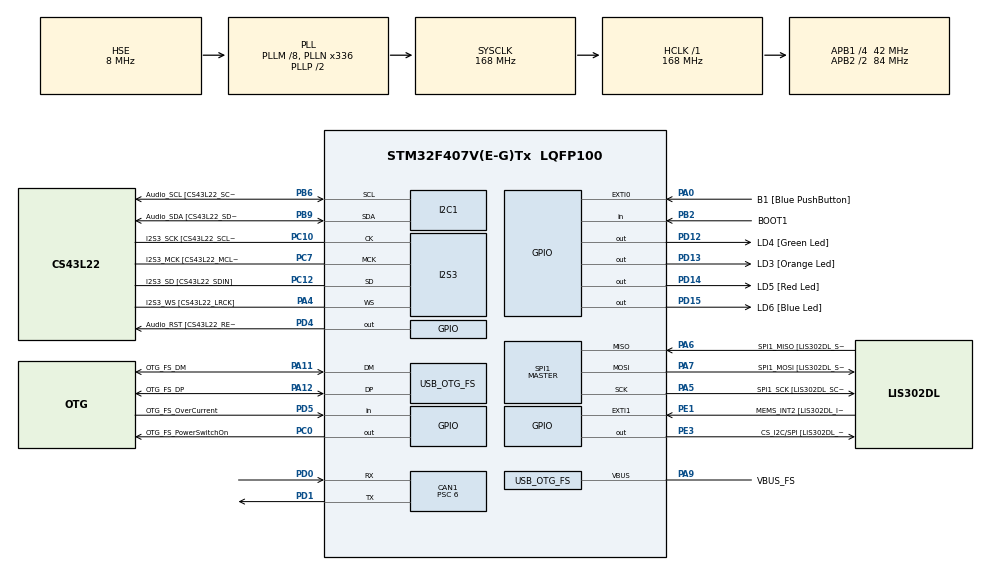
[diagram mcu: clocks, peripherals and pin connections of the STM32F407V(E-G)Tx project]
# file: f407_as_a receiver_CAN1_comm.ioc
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CAN1.ABOM=ENABLE
CAN1.BS1=CAN_BS1_11TQ
CAN1.BS2=CAN_BS2_2TQ
CAN1.CalculateBaudRate=500000
CAN1.CalculateTimeBit=2000
CAN1.CalculateTimeQuantum=142.85714285714286
CAN1.NART=ENABLE
CAN1.Prescaler=6
I2S3.AudioFreq-Half_Duplex_Master=I2S_AUDIOFREQ_96K
I2S3.ErrorAudioFreq=-2.34 %
I2S3.ErrorAudioFreq-Half_Duplex_Master=0.8 %
I2S3.FullDuplexMode=I2S_FULLDUPLEXMODE_DISABLE
I2S3.Instance=SPI$Index
I2S3.RealAudioFreq=93.75 KHz
I2S3.RealAudioFreq-Half_Duplex_Master=96.774 KHz
I2S3.VirtualMode=I2S_MODE_MASTER
Mcu.Family=STM32F4
Mcu.Name=STM32F407V(E-G)Tx
Mcu.Package=LQFP100
NVIC.CAN1_RX0_IRQn=true\:0\:0\:false\:false\:true\:true\:true\:true
NVIC.OTG_FS_IRQn=true\:0\:0\:false\:false\:true\:true\:true\:true
NVIC.PriorityGroup=NVIC_PRIORITYGROUP_0
PA0-WKUP.GPIO_Label=B1 [Blue PushButton]
PA0-WKUP.GPIO_ModeDefaultEXTI=GPIO_MODE_EVT_RISING
PA0-WKUP.GPIO_PuPd=GPIO_NOPULL
PA0-WKUP.Signal=GPXTI0
PA10.GPIO_Label=OTG_FS_ID
PA10.GPIO_Mode=GPIO_MODE_AF_PP
PA10.GPIO_PuPd=GPIO_NOPULL
PA10.GPIO_Speed=GPIO_SPEED_FREQ_LOW
PA10.Signal=USB_OTG_FS_ID
PA11.GPIO_Label=OTG_FS_DM
PA11.GPIO_Mode=GPIO_MODE_AF_PP
PA11.GPIO_PuPd=GPIO_NOPULL
PA11.GPIO_Speed=GPIO_SPEED_FREQ_LOW
PA11.Mode=Host_Only
PA11.Signal=USB_OTG_FS_DM
PA12.GPIO_Label=OTG_FS_DP
PA12.GPIO_Mode=GPIO_MODE_AF_PP
PA12.GPIO_PuPd=GPIO_NOPULL
PA12.GPIO_Speed=GPIO_SPEED_FREQ_LOW
PA12.Mode=Host_Only
PA12.Signal=USB_OTG_FS_DP
PA13.GPIO_Label=SWDIO
PA13.Mode=Serial_Wire
PA13.Signal=SYS_JTMS-SWDIO
PA14.GPIO_Label=SWCLK
PA14.Mode=Serial_Wire
PA14.Signal=SYS_JTCK-SWCLK
PA4.GPIO_Label=I2S3_WS [CS43L22_LRCK]
PA4.GPIO_Mode=GPIO_MODE_AF_PP
PA4.GPIO_PuPd=GPIO_NOPULL
PA4.GPIO_Speed=GPIO_SPEED_FREQ_LOW
PA4.Mode=Half_Duplex_Master
PA4.Signal=I2S3_WS
PA5.GPIO_Label=SPI1_SCK [LIS302DL_SCL/SPC]
PA5.GPIO_Mode=GPIO_MODE_AF_PP
PA5.GPIO_PuPd=GPIO_NOPULL
PA5.GPIO_Speed=GPIO_SPEED_FREQ_LOW
PA5.Mode=Full_Duplex_Master
PA5.Signal=SPI1_SCK
PA6.GPIO_Label=SPI1_MISO [LIS302DL_SDO]
PA6.GPIO_Mode=GPIO_MODE_AF_PP
PA6.GPIO_PuPd=GPIO_NOPULL
PA6.GPIO_Speed=GPIO_SPEED_FREQ_LOW
PA6.Mode=Full_Duplex_Master
PA6.Signal=SPI1_MISO
PA7.GPIO_Label=SPI1_MOSI [LIS302DL_SDA/SDI/SDO]
PA7.GPIO_Mode=GPIO_MODE_AF_PP
PA7.GPIO_PuPd=GPIO_NOPULL
PA7.GPIO_Speed=GPIO_SPEED_FREQ_LOW
PA7.Mode=Full_Duplex_Master
PA7.Signal=SPI1_MOSI
PA9.GPIO_Label=VBUS_FS
PA9.GPIO_Mode=GPIO_MODE_INPUT
PA9.GPIO_PuPd=GPIO_NOPULL
PA9.Mode=Activate_VBUS
PA9.Signal=USB_OTG_FS_VBUS
PB10.GPIO_Label=CLK_IN [MP45DT02_CLK]
PB10.GPIO_Mode=GPIO_MODE_AF_PP
PB10.GPIO_PuPd=GPIO_NOPULL
PB10.GPIO_Speed=GPIO_SPEED_FREQ_LOW
PB10.Signal=I2S2_CK
PB2.GPIO_Label=BOOT1
PB2.GPIO_Mode=GPIO_MODE_INPUT
PB2.GPIO_PuPd=GPIO_NOPULL
PB2.Signal=GPIO_Input
PB3.GPIO_Label=SWO
PB3.Signal=SYS_JTDO-SWO
PB6.GPIO_Label=Audio_SCL [CS43L22_SCL]
PB6.GPIO_Mode=GPIO_MODE_AF_OD
PB6.GPIO_Pu=GPIO_PULLUP
PB6.GPIO_PuPd=GPIO_NOPULL
PB6.GPIO_Speed=GPIO_SPEED_FREQ_LOW
PB6.Mode=I2C
PB6.Signal=I2C1_SCL
PB9.GPIO_Label=Audio_SDA [CS43L22_SDA]
PB9.GPIO_Mode=GPIO_MODE_AF_OD
PB9.GPIO_Pu=GPIO_PULLUP
PB9.GPIO_PuPd=GPIO_NOPULL
PB9.GPIO_Speed=GPIO_SPEED_FREQ_LOW
PB9.Mode=I2C
PB9.Signal=I2C1_SDA
PC0.GPIO_Label=OTG_FS_PowerSwitchOn
PC0.GPIO_PuPd=GPIO_NOPULL
PC0.GPIO_Speed=GPIO_SPEED_FREQ_LOW
PC0.PinState=GPIO_PIN_SET
PC0.Signal=GPIO_Output
PC10.GPIO_Label=I2S3_SCK [CS43L22_SCLK]
PC10.GPIO_Mode=GPIO_MODE_AF_PP
PC10.GPIO_PuPd=GPIO_NOPULL
PC10.GPIO_Speed=GPIO_SPEED_FREQ_LOW
PC10.Mode=Half_Duplex_Master
PC10.Signal=I2S3_CK
PC12.GPIO_Label=I2S3_SD [CS43L22_SDIN]
PC12.GPIO_Mode=GPIO_MODE_AF_PP
PC12.GPIO_PuPd=GPIO_NOPULL
PC12.GPIO_Speed=GPIO_SPEED_FREQ_LOW
PC12.Mode=Half_Duplex_Master
PC12.Signal=I2S3_SD
PC14-OSC32_IN.GPIO_Label=PC14-OSC32_IN
PC14-OSC32_IN.Mode=LSE-External-Oscillator
PC14-OSC32_IN.Signal=RCC_OSC32_IN
PC15-OSC32_OUT.GPIO_Label=PC15-OSC32_OUT
PC15-OSC32_OUT.Mode=LSE-External-Oscillator
PC15-OSC32_OUT.Signal=RCC_OSC32_OUT
PC3.GPIO_Label=PDM_OUT [MP45DT02_DOUT]
PC3.GPIO_Mode=GPIO_MODE_AF_PP
PC3.GPIO_PuPd=GPIO_NOPULL
PC3.GPIO_Speed=GPIO_SPEED_FREQ_LOW
PC3.Signal=I2S2_SD
PC7.GPIO_Label=I2S3_MCK [CS43L22_MCLK]
PC7.GPIO_Mode=GPIO_MODE_AF_PP
PC7.GPIO_PuPd=GPIO_NOPULL
PC7.GPIO_Speed=GPIO_SPEED_FREQ_LOW
PC7.Mode=Master_Clock_Activated
PC7.Signal=I2S3_MCK
PD0.Mode=CAN_Activate
PD0.Signal=CAN1_RX
PD1.Mode=CAN_Activate
PD1.Signal=CAN1_TX
PD12.GPIO_Label=LD4 [Green Led]
PD12.GPIO_PuPd=GPIO_NOPULL
PD12.GPIO_Speed=GPIO_SPEED_FREQ_LOW
PD12.Signal=GPIO_Output
PD13.GPIO_Label=LD3 [Orange Led]
PD13.GPIO_PuPd=GPIO_NOPULL
PD13.GPIO_Speed=GPIO_SPEED_FREQ_LOW
PD13.Signal=GPIO_Output
PD14.GPIO_Label=LD5 [Red Led]
PD14.GPIO_PuPd=GPIO_NOPULL
PD14.GPIO_Speed=GPIO_SPEED_FREQ_LOW
PD14.Signal=GPIO_Output
PD15.GPIO_Label=LD6 [Blue Led]
PD15.GPIO_PuPd=GPIO_NOPULL
PD15.GPIO_Speed=GPIO_SPEED_FREQ_LOW
PD15.Signal=GPIO_Output
PD4.GPIO_Label=Audio_RST [CS43L22_RESET]
PD4.GPIO_PuPd=GPIO_NOPULL
PD4.GPIO_Speed=GPIO_SPEED_FREQ_LOW
PD4.Signal=GPIO_Output
PD5.GPIO_Label=OTG_FS_OverCurrent
PD5.GPIO_Mode=GPIO_MODE_INPUT
PD5.GPIO_PuPd=GPIO_NOPULL
PD5.Signal=GPIO_Input
PE1.GPIO_Label=MEMS_INT2 [LIS302DL_INT2]
PE1.GPIO_ModeDefaultEXTI=GPIO_MODE_EVT_RISING
PE1.GPIO_PuPd=GPIO_NOPULL
PE1.Signal=GPXTI1
PE3.GPIO_Label=CS_I2C/SPI [LIS302DL_CS_I2C/SPI]
PE3.GPIO_PuPd=GPIO_NOPULL
PE3.GPIO_Speed=GPIO_SPEED_FREQ_LOW
PE3.Signal=GPIO_Output
PH0-OSC_IN.GPIO_Label=PH0-OSC_IN
PH0-OSC_IN.Mode=HSE-External-Oscillator
PH0-OSC_IN.Signal=RCC_OSC_IN
PH1-OSC_OUT.GPIO_Label=PH1-OSC_OUT
PH1-OSC_OUT.Mode=HSE-External-Oscillator
PH1-OSC_OUT.Signal=RCC_OSC_OUT
ProjectManager.HeapSize=0x200
ProjectManager.StackSize=0x400
ProjectManager.TargetToolchain=STM32CubeIDE
RCC.48MHZClocksFreq_Value=48000000
RCC.AHBFreq_Value=168000000
RCC.APB1CLKDivider=RCC_HCLK_DIV4
RCC.APB1Freq_Value=42000000
RCC.APB1TimFreq_Value=84000000
RCC.APB2CLKDivider=RCC_HCLK_DIV2
RCC.APB2Freq_Value=84000000
RCC.APB2TimFreq_Value=168000000
RCC.CortexFreq_Value=168000000
RCC.HCLKFreq_Value=168000000
RCC.HSE_VALUE=8000000
RCC.HSI_VALUE=16000000
RCC.PLLM=8
RCC.PLLN=336
RCC.PLLQ=7
RCC.SYSCLKFreq_VALUE=168000000
RCC.SYSCLKSource=RCC_SYSCLKSOURCE_PLLCLK
RCC.VCOOutputFreq_Value=336000000
SPI1.BaudRatePrescaler-Full_Duplex_Master=SPI_BAUDRATEPRESCALER_2
SPI1.CalculateBaudRate-Full_Duplex_Master=42.0 MBits/s
SPI1.Direction=SPI_DIRECTION_2LINES
SPI1.Mode=SPI_MODE_MASTER
SPI1.Mode-Full_Duplex_Master=SPI_MODE_MASTER
SPI1.VirtualType=VM_MASTER
USB_HOST.BSP.number=1
USB_HOST.USBH_HandleTypeDef-CDC_FS=hUsbHostFS
USB_HOST.VirtualModeFS=Cdc
USB_HOST0.BSP.STBoard=false
USB_HOST0.BSP.api=Unknown
USB_HOST0.BSP.instance=PC0
USB_HOST0.BSP.ip=GPIO
USB_HOST0.BSP.mode=Output
USB_HOST0.BSP.name=Drive_VBUS_FS
USB_HOST0.BSP.solution=PC0
USB_OTG_FS.VirtualMode=Host_Only
USB_OTG_FS.phy_itface=HCD_PHY_EMBEDDED
VP_USB_HOST_VS_USB_HOST_CDC_FS.Mode=CDC_FS
board=STM32F407G-DISC1

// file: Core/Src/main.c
/* USER CODE BEGIN Header */
/**
  ******************************************************************************
  * @file           : main.c
  * @brief          : Main program body
  ******************************************************************************
  * @attention
  *
  * Copyright (c) 2026 STMicroelectronics.
  * All rights reserved.
  *
  * This software is licensed under terms that can be found in the LICENSE file
  * in the root directory of this software component.
  * If no LICENSE file comes with this software, it is provided AS-IS.
  *
  ******************************************************************************
  */
/* USER CODE END Header */
#include "main.h"
#include "usb_host.h"

CAN_HandleTypeDef hcan1;

I2C_HandleTypeDef hi2c1;

I2S_HandleTypeDef hi2s3;

SPI_HandleTypeDef hspi1;

/* USER CODE BEGIN PV */

	CAN_RxHeaderTypeDef RxHeader;
	uint8_t RxData[8];
/* USER CODE END PV */

void SystemClock_Config(void);
static void MX_GPIO_Init(void);
static void MX_I2C1_Init(void);
static void MX_I2S3_Init(void);
static void MX_SPI1_Init(void);
static void MX_CAN1_Init(void);
void MX_USB_HOST_Process(void);

int main(void)
{

  /* MCU Configuration--------------------------------------------------------*/

  /* Reset of all peripherals, Initializes the Flash interface and the Systick. */
  HAL_Init();

  /* Configure the system clock */
  SystemClock_Config();

  /* Initialize all configured peripherals */
  MX_GPIO_Init();
  MX_I2C1_Init();
  MX_I2S3_Init();
  MX_SPI1_Init();
  MX_USB_HOST_Init();
  MX_CAN1_Init();
  /* USER CODE BEGIN 2 */

  CAN_FilterTypeDef sFilterConfig;

  /* Configure filter to accept all messages */
  sFilterConfig.FilterBank = 0;
  sFilterConfig.FilterMode = CAN_FILTERMODE_IDMASK;
  sFilterConfig.FilterScale = CAN_FILTERSCALE_32BIT;
  sFilterConfig.FilterIdHigh = 0x0000;
  sFilterConfig.FilterIdLow = 0x0000;
  sFilterConfig.FilterMaskIdHigh = 0x0000;
  sFilterConfig.FilterMaskIdLow = 0x0000;
  sFilterConfig.FilterFIFOAssignment = CAN_FILTER_FIFO0;
  sFilterConfig.FilterActivation = ENABLE;

  HAL_CAN_ConfigFilter(&hcan1, &sFilterConfig);

  /* Start CAN */
  HAL_CAN_Start(&hcan1);

  /* Enable RX interrupt */
  HAL_CAN_ActivateNotification(&hcan1, CAN_IT_RX_FIFO0_MSG_PENDING);
  /* USER CODE END 2 */

  /* Infinite loop */
  while (1)
  {
    MX_USB_HOST_Process();

  }
}

void SystemClock_Config(void)
{
  RCC_OscInitTypeDef RCC_OscInitStruct = {0};
  RCC_ClkInitTypeDef RCC_ClkInitStruct = {0};

  /** Configure the main internal regulator output voltage
  */
  __HAL_RCC_PWR_CLK_ENABLE();
  __HAL_PWR_VOLTAGESCALING_CONFIG(PWR_REGULATOR_VOLTAGE_SCALE1);

  /** Initializes the RCC Oscillators according to the specified parameters
  * in the RCC_OscInitTypeDef structure.
  */
  RCC_OscInitStruct.OscillatorType = RCC_OSCILLATORTYPE_HSE;
  RCC_OscInitStruct.HSEState = RCC_HSE_ON;
  RCC_OscInitStruct.PLL.PLLState = RCC_PLL_ON;
  RCC_OscInitStruct.PLL.PLLSource = RCC_PLLSOURCE_HSE;
  RCC_OscInitStruct.PLL.PLLM = 8;
  RCC_OscInitStruct.PLL.PLLN = 336;
  RCC_OscInitStruct.PLL.PLLP = RCC_PLLP_DIV2;
  RCC_OscInitStruct.PLL.PLLQ = 7;
  if (HAL_RCC_OscConfig(&RCC_OscInitStruct) != HAL_OK)
  {
    Error_Handler();
  }

  /** Initializes the CPU, AHB and APB buses clocks
  */
  RCC_ClkInitStruct.ClockType = RCC_CLOCKTYPE_HCLK|RCC_CLOCKTYPE_SYSCLK
                              |RCC_CLOCKTYPE_PCLK1|RCC_CLOCKTYPE_PCLK2;
  RCC_ClkInitStruct.SYSCLKSource = RCC_SYSCLKSOURCE_PLLCLK;
  RCC_ClkInitStruct.AHBCLKDivider = RCC_SYSCLK_DIV1;
  RCC_ClkInitStruct.APB1CLKDivider = RCC_HCLK_DIV4;
  RCC_ClkInitStruct.APB2CLKDivider = RCC_HCLK_DIV2;

  if (HAL_RCC_ClockConfig(&RCC_ClkInitStruct, FLASH_LATENCY_5) != HAL_OK)
  {
    Error_Handler();
  }
}

static void MX_CAN1_Init(void)
{

  hcan1.Instance = CAN1;
  hcan1.Init.Prescaler = 6;
  hcan1.Init.Mode = CAN_MODE_NORMAL;
  hcan1.Init.SyncJumpWidth = CAN_SJW_1TQ;
  hcan1.Init.TimeSeg1 = CAN_BS1_11TQ;
  hcan1.Init.TimeSeg2 = CAN_BS2_2TQ;
  hcan1.Init.TimeTriggeredMode = DISABLE;
  hcan1.Init.AutoBusOff = ENABLE;
  hcan1.Init.AutoWakeUp = DISABLE;
  hcan1.Init.AutoRetransmission = ENABLE;
  hcan1.Init.ReceiveFifoLocked = DISABLE;
  hcan1.Init.TransmitFifoPriority = DISABLE;
  if (HAL_CAN_Init(&hcan1) != HAL_OK)
  {
    Error_Handler();
  }

}

static void MX_I2C1_Init(void)
{

  hi2c1.Instance = I2C1;
  hi2c1.Init.ClockSpeed = 100000;
  hi2c1.Init.DutyCycle = I2C_DUTYCYCLE_2;
  hi2c1.Init.OwnAddress1 = 0;
  hi2c1.Init.AddressingMode = I2C_ADDRESSINGMODE_7BIT;
  hi2c1.Init.DualAddressMode = I2C_DUALADDRESS_DISABLE;
  hi2c1.Init.OwnAddress2 = 0;
  hi2c1.Init.GeneralCallMode = I2C_GENERALCALL_DISABLE;
  hi2c1.Init.NoStretchMode = I2C_NOSTRETCH_DISABLE;
  if (HAL_I2C_Init(&hi2c1) != HAL_OK)
  {
    Error_Handler();
  }

}

static void MX_I2S3_Init(void)
{

  hi2s3.Instance = SPI3;
  hi2s3.Init.Mode = I2S_MODE_MASTER_TX;
  hi2s3.Init.Standard = I2S_STANDARD_PHILIPS;
  hi2s3.Init.DataFormat = I2S_DATAFORMAT_16B;
  hi2s3.Init.MCLKOutput = I2S_MCLKOUTPUT_ENABLE;
  hi2s3.Init.AudioFreq = I2S_AUDIOFREQ_96K;
  hi2s3.Init.CPOL = I2S_CPOL_LOW;
  hi2s3.Init.ClockSource = I2S_CLOCK_PLL;
  hi2s3.Init.FullDuplexMode = I2S_FULLDUPLEXMODE_DISABLE;
  if (HAL_I2S_Init(&hi2s3) != HAL_OK)
  {
    Error_Handler();
  }

}

static void MX_SPI1_Init(void)
{

  /* SPI1 parameter configuration*/
  hspi1.Instance = SPI1;
  hspi1.Init.Mode = SPI_MODE_MASTER;
  hspi1.Init.Direction = SPI_DIRECTION_2LINES;
  hspi1.Init.DataSize = SPI_DATASIZE_8BIT;
  hspi1.Init.CLKPolarity = SPI_POLARITY_LOW;
  hspi1.Init.CLKPhase = SPI_PHASE_1EDGE;
  hspi1.Init.NSS = SPI_NSS_SOFT;
  hspi1.Init.BaudRatePrescaler = SPI_BAUDRATEPRESCALER_2;
  hspi1.Init.FirstBit = SPI_FIRSTBIT_MSB;
  hspi1.Init.TIMode = SPI_TIMODE_DISABLE;
  hspi1.Init.CRCCalculation = SPI_CRCCALCULATION_DISABLE;
  hspi1.Init.CRCPolynomial = 10;
  if (HAL_SPI_Init(&hspi1) != HAL_OK)
  {
    Error_Handler();
  }

}

static void MX_GPIO_Init(void)
{
  GPIO_InitTypeDef GPIO_InitStruct = {0};

  /* GPIO Ports Clock Enable */
  __HAL_RCC_GPIOE_CLK_ENABLE();
  __HAL_RCC_GPIOC_CLK_ENABLE();
  __HAL_RCC_GPIOH_CLK_ENABLE();
  __HAL_RCC_GPIOA_CLK_ENABLE();
  __HAL_RCC_GPIOB_CLK_ENABLE();
  __HAL_RCC_GPIOD_CLK_ENABLE();

  /*Configure GPIO pin Output Level */
  HAL_GPIO_WritePin(CS_I2C_SPI_GPIO_Port, CS_I2C_SPI_Pin, GPIO_PIN_RESET);

  /*Configure GPIO pin Output Level */
  HAL_GPIO_WritePin(OTG_FS_PowerSwitchOn_GPIO_Port, OTG_FS_PowerSwitchOn_Pin, GPIO_PIN_SET);

  /*Configure GPIO pin Output Level */
  HAL_GPIO_WritePin(GPIOD, LD4_Pin|LD3_Pin|LD5_Pin|LD6_Pin
                          |Audio_RST_Pin, GPIO_PIN_RESET);

  /*Configure GPIO pin : CS_I2C_SPI_Pin */
  GPIO_InitStruct.Pin = CS_I2C_SPI_Pin;
  GPIO_InitStruct.Mode = GPIO_MODE_OUTPUT_PP;
  GPIO_InitStruct.Pull = GPIO_NOPULL;
  GPIO_InitStruct.Speed = GPIO_SPEED_FREQ_LOW;
  HAL_GPIO_Init(CS_I2C_SPI_GPIO_Port, &GPIO_InitStruct);

  /*Configure GPIO pin : OTG_FS_PowerSwitchOn_Pin */
  GPIO_InitStruct.Pin = OTG_FS_PowerSwitchOn_Pin;
  GPIO_InitStruct.Mode = GPIO_MODE_OUTPUT_PP;
  GPIO_InitStruct.Pull = GPIO_NOPULL;
  GPIO_InitStruct.Speed = GPIO_SPEED_FREQ_LOW;
  HAL_GPIO_Init(OTG_FS_PowerSwitchOn_GPIO_Port, &GPIO_InitStruct);

  /*Configure GPIO pin : PDM_OUT_Pin */
  GPIO_InitStruct.Pin = PDM_OUT_Pin;
  GPIO_InitStruct.Mode = GPIO_MODE_AF_PP;
  GPIO_InitStruct.Pull = GPIO_NOPULL;
  GPIO_InitStruct.Speed = GPIO_SPEED_FREQ_LOW;
  GPIO_InitStruct.Alternate = GPIO_AF5_SPI2;
  HAL_GPIO_Init(PDM_OUT_GPIO_Port, &GPIO_InitStruct);

  /*Configure GPIO pin : B1_Pin */
  GPIO_InitStruct.Pin = B1_Pin;
  GPIO_InitStruct.Mode = GPIO_MODE_EVT_RISING;
  GPIO_InitStruct.Pull = GPIO_NOPULL;
  HAL_GPIO_Init(B1_GPIO_Port, &GPIO_InitStruct);

  /*Configure GPIO pin : BOOT1_Pin */
  GPIO_InitStruct.Pin = BOOT1_Pin;
  GPIO_InitStruct.Mode = GPIO_MODE_INPUT;
  GPIO_InitStruct.Pull = GPIO_NOPULL;
  HAL_GPIO_Init(BOOT1_GPIO_Port, &GPIO_InitStruct);

  /*Configure GPIO pin : CLK_IN_Pin */
  GPIO_InitStruct.Pin = CLK_IN_Pin;
  GPIO_InitStruct.Mode = GPIO_MODE_AF_PP;
  GPIO_InitStruct.Pull = GPIO_NOPULL;
  GPIO_InitStruct.Speed = GPIO_SPEED_FREQ_LOW;
  GPIO_InitStruct.Alternate = GPIO_AF5_SPI2;
  HAL_GPIO_Init(CLK_IN_GPIO_Port, &GPIO_InitStruct);

  /*Configure GPIO pins : LD4_Pin LD3_Pin LD5_Pin LD6_Pin
                           Audio_RST_Pin */
  GPIO_InitStruct.Pin = LD4_Pin|LD3_Pin|LD5_Pin|LD6_Pin
                          |Audio_RST_Pin;
  GPIO_InitStruct.Mode = GPIO_MODE_OUTPUT_PP;
  GPIO_InitStruct.Pull = GPIO_NOPULL;
  GPIO_InitStruct.Speed = GPIO_SPEED_FREQ_LOW;
  HAL_GPIO_Init(GPIOD, &GPIO_InitStruct);

  /*Configure GPIO pin : OTG_FS_OverCurrent_Pin */
  GPIO_InitStruct.Pin = OTG_FS_OverCurrent_Pin;
  GPIO_InitStruct.Mode = GPIO_MODE_INPUT;
  GPIO_InitStruct.Pull = GPIO_NOPULL;
  HAL_GPIO_Init(OTG_FS_OverCurrent_GPIO_Port, &GPIO_InitStruct);

  /*Configure GPIO pin : MEMS_INT2_Pin */
  GPIO_InitStruct.Pin = MEMS_INT2_Pin;
  GPIO_InitStruct.Mode = GPIO_MODE_EVT_RISING;
  GPIO_InitStruct.Pull = GPIO_NOPULL;
  HAL_GPIO_Init(MEMS_INT2_GPIO_Port, &GPIO_InitStruct);

}

/* USER CODE BEGIN 4 */

void HAL_CAN_RxFifo0MsgPendingCallback(CAN_HandleTypeDef *hcan)
{
    HAL_CAN_GetRxMessage(hcan, CAN_RX_FIFO0, &RxHeader, RxData);

    /* Toggle LED when data received */
    HAL_GPIO_TogglePin(GPIOD, LD4_Pin);
}
/* USER CODE END 4 */

void Error_Handler(void)
{
  __disable_irq();
  while (1)
  {
  }
}
